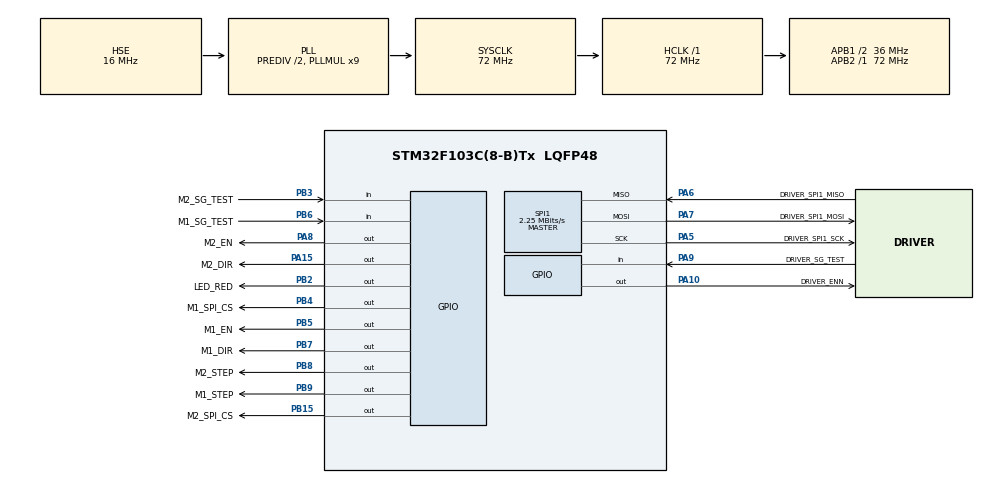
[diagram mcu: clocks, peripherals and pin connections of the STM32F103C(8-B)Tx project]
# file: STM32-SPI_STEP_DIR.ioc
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Mcu.Family=STM32F1
Mcu.Name=STM32F103C(8-B)Tx
Mcu.Package=LQFP48
NVIC.PriorityGroup=NVIC_PRIORITYGROUP_4
PA10.GPIO_Label=DRIVER_ENN
PA10.Signal=GPIO_Output
PA13.Mode=Serial_Wire
PA13.Signal=SYS_JTMS-SWDIO
PA14.Mode=Serial_Wire
PA14.Signal=SYS_JTCK-SWCLK
PA15.GPIO_Label=M2_DIR
PA15.Signal=GPIO_Output
PA5.GPIO_Label=DRIVER_SPI1_SCK
PA5.Mode=Full_Duplex_Master
PA5.Signal=SPI1_SCK
PA6.GPIO_Label=DRIVER_SPI1_MISO
PA6.Mode=Full_Duplex_Master
PA6.Signal=SPI1_MISO
PA7.GPIO_Label=DRIVER_SPI1_MOSI
PA7.Mode=Full_Duplex_Master
PA7.Signal=SPI1_MOSI
PA8.GPIO_Label=M2_EN
PA8.Signal=GPIO_Output
PA9.GPIO_Label=DRIVER_SG_TEST
PA9.Signal=GPIO_Input
PB15.GPIO_Label=M2_SPI_CS
PB15.Signal=GPIO_Output
PB2.GPIO_Label=LED_RED
PB2.Signal=GPIO_Output
PB3.GPIO_Label=M2_SG_TEST
PB3.Signal=GPIO_Input
PB4.GPIO_Label=M1_SPI_CS
PB4.Signal=GPIO_Output
PB5.GPIO_Label=M1_EN
PB5.Signal=GPIO_Output
PB6.GPIO_Label=M1_SG_TEST
PB6.Signal=GPIO_Input
PB7.GPIO_Label=M1_DIR
PB7.Signal=GPIO_Output
PB8.GPIO_Label=M2_STEP
PB8.Signal=GPIO_Output
PB9.GPIO_Label=M1_STEP
PB9.Signal=GPIO_Output
PD0-OSC_IN.Mode=HSE-External-Oscillator
PD0-OSC_IN.Signal=RCC_OSC_IN
PD1-OSC_OUT.Mode=HSE-External-Oscillator
PD1-OSC_OUT.Signal=RCC_OSC_OUT
ProjectManager.HeapSize=0x200
ProjectManager.StackSize=0x400
ProjectManager.TargetToolchain=STM32CubeIDE
RCC.AHBFreq_Value=72000000
RCC.APB1CLKDivider=RCC_HCLK_DIV2
RCC.APB1Freq_Value=36000000
RCC.APB1TimFreq_Value=72000000
RCC.APB2Freq_Value=72000000
RCC.APB2TimFreq_Value=72000000
RCC.HCLKFreq_Value=72000000
RCC.HSEDivPLL=RCC_HSE_PREDIV_DIV2
RCC.HSE_VALUE=16000000
RCC.PLLMUL=RCC_PLL_MUL9
RCC.PLLSourceVirtual=RCC_PLLSOURCE_HSE
RCC.SYSCLKFreq_VALUE=72000000
RCC.SYSCLKSource=RCC_SYSCLKSOURCE_PLLCLK
RCC.USBFreq_Value=72000000
SPI1.BaudRatePrescaler=SPI_BAUDRATEPRESCALER_32
SPI1.CalculateBaudRate=2.25 MBits/s
SPI1.Direction=SPI_DIRECTION_2LINES
SPI1.Mode=SPI_MODE_MASTER
SPI1.VirtualType=VM_MASTER
board=custom

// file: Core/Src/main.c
/* USER CODE BEGIN Header */
/**
 ******************************************************************************
 * @file           : main.c
 * @brief          : Main program body
 ******************************************************************************
 * @attention
 *
 * Copyright (c) 2024 STMicroelectronics.
 * All rights reserved.
 *
 * This software is licensed under terms that can be found in the LICENSE file
 * in the root directory of this software component.
 * If no LICENSE file comes with this software, it is provided AS-IS.
 *
 ******************************************************************************
 */
/* USER CODE END Header */
#include "main.h"

SPI_HandleTypeDef hspi1;

void SystemClock_Config(void);
static void MX_GPIO_Init(void);
static void MX_SPI1_Init(void);

/* USER CODE BEGIN 0 */
uint32_t getUs(void)
{

    uint32_t usTicks = HAL_RCC_GetSysClockFreq() / 1000000;

    register uint32_t ms, cycle_cnt;
    do
    {
        ms = HAL_GetTick();
        cycle_cnt = SysTick->VAL;
    } while (ms != HAL_GetTick());
    return (ms * 1000) + (usTicks * 1000 - cycle_cnt) / usTicks;
}

void delayUs(uint16_t micros)
{
    uint32_t start = getUs();
    while (getUs() - start < (uint32_t) micros)
    {
        asm("nop");
    }
}

/* USER CODE END 0 */

int main(void)
{

  /* MCU Configuration--------------------------------------------------------*/

  /* Reset of all peripherals, Initializes the Flash interface and the Systick. */
  HAL_Init();

  /* Configure the system clock */
  SystemClock_Config();

  /* Initialize all configured peripherals */
  MX_GPIO_Init();
  MX_SPI1_Init();
  /* USER CODE BEGIN 2 */

    HAL_GPIO_WritePin(M1_EN_GPIO_Port, M1_EN_Pin, GPIO_PIN_RESET); // Motor driver chip enable
    HAL_GPIO_WritePin(M2_EN_GPIO_Port, M2_EN_Pin, GPIO_PIN_RESET); // Motor driver chip enable

    HAL_GPIO_WritePin(M1_DIR_GPIO_Port, M1_DIR_Pin, GPIO_PIN_RESET); // set DIR
    // HAL_GPIO_TogglePin(GPIOB, GPIO_PIN_3, GPIO_PIN_RESET); // STEP

    uint32_t SPImsg = 0;
    uint8_t SPImsg_bytes[3];

//  uint32_t SPIread;
    uint8_t SPIread_bytes[3];

    HAL_StatusTypeDef spi_status;

    // Bits 19, 18, 17
    // 111 DRVCONF (0b111 << 17)
    // 110 SGCSCONF (0b110 << 17)
    // 101 SMARTEN (0b101 << 17)
    // 100 CHOPCONF (0b100 << 17)
    // 00X DRVCTRL (0b00 << 18)

    /* DRVCONF */
    SPImsg = 0;
    SPImsg |= (0b111 << 17); // DRVCONF
    SPImsg |= (0b0 << 16); // TST: test mode
    SPImsg |= (0b11110 << 11); // SLP: Slope control
    SPImsg |= (0b0 << 10); // DIS_S2G: Short to ground protection
    SPImsg |= (0b00 << 8); // TS2G: Short detection delay
    SPImsg |= (0b0 << 7); // SDOFF: step/dir interface
    SPImsg |= (0b0 << 6); // VSENSE: full-scale sense resistor voltage setting
    SPImsg |= (0b11 << 4); // RDSEL: read out select
    SPImsg |= (0b0 << 3); // OTSENS: overtemp shutdown setting
    SPImsg |= (0b1 << 2); // SHRTSENS: short to ground sensitivity
    SPImsg |= (0b1 << 1); // EN_PFD: passive fast delay setting
    SPImsg |= (0b1 << 0); // EN_S2VS: Short to VS protection

    SPImsg_bytes[2] = (uint8_t) (SPImsg & 0xFF);
    SPImsg_bytes[1] = (uint8_t) ((SPImsg & 0xFF00) >> 8);
    SPImsg_bytes[0] = (uint8_t) ((SPImsg & 0xFF0000) >> 16);

    HAL_GPIO_WritePin(M1_SPI_CS_GPIO_Port, M1_SPI_CS_Pin, GPIO_PIN_RESET);
    spi_status = HAL_SPI_TransmitReceive(&hspi1, SPImsg_bytes, SPIread_bytes, 3,
            1000);
    HAL_GPIO_WritePin(M1_SPI_CS_GPIO_Port, M1_SPI_CS_Pin, GPIO_PIN_SET);
//    HAL_GPIO_WritePin(M2_SPI_CS_GPIO_Port, M2_SPI_CS_Pin, GPIO_PIN_RESET);
//    spi_status = HAL_SPI_TransmitReceive(&hspi1, SPImsg_bytes, SPIread_bytes, 3,
//            1000);
//    HAL_GPIO_WritePin(M2_SPI_CS_GPIO_Port, M2_SPI_CS_Pin, GPIO_PIN_SET);

    /* SGCSCONF */
    SPImsg = 0;
    SPImsg |= (0b110 << 17); // SGCSCONF
    SPImsg |= (0b0 << 16); // SFILT: stall guard filter
    SPImsg |= (0b0000010 << 8); // SGT: stall guard threshold
    SPImsg |= (17 << 0); // CS: current scale

    SPImsg_bytes[2] = (uint8_t) (SPImsg & 0xFF);
    SPImsg_bytes[1] = (uint8_t) ((SPImsg & 0xFF00) >> 8);
    SPImsg_bytes[0] = (uint8_t) ((SPImsg & 0xFF0000) >> 16);

    HAL_GPIO_WritePin(M1_SPI_CS_GPIO_Port, M1_SPI_CS_Pin, GPIO_PIN_RESET);
    spi_status = HAL_SPI_TransmitReceive(&hspi1, SPImsg_bytes, SPIread_bytes, 3,
            1000);
    HAL_GPIO_WritePin(M1_SPI_CS_GPIO_Port, M1_SPI_CS_Pin, GPIO_PIN_SET);
//    HAL_GPIO_WritePin(M2_SPI_CS_GPIO_Port, M2_SPI_CS_Pin, GPIO_PIN_RESET);
//    spi_status = HAL_SPI_TransmitReceive(&hspi1, SPImsg_bytes, SPIread_bytes, 3,
//            1000);
//    HAL_GPIO_WritePin(M2_SPI_CS_GPIO_Port, M2_SPI_CS_Pin, GPIO_PIN_SET);

    /* SMARTEN */
    SPImsg = 0;
    SPImsg |= (0b101 << 17); // SMARTEN
    SPImsg |= (0b0 << 15); // SEIMIN: min cool step current
    SPImsg |= (0b00 << 13); // SEDN: current dec. speed
    SPImsg |= (0b0000 << 8); // SEMAX: upper cool step threshold offset
    SPImsg |= (0b00 << 5); // SEUP: current increment size
    SPImsg |= (0b0000 << 0); // SEMIN: cool step lower threshold

    SPImsg_bytes[2] = (uint8_t) (SPImsg & 0xFF);
    SPImsg_bytes[1] = (uint8_t) ((SPImsg & 0xFF00) >> 8);
    SPImsg_bytes[0] = (uint8_t) ((SPImsg & 0xFF0000) >> 16);

     HAL_GPIO_WritePin(M1_SPI_CS_GPIO_Port, M1_SPI_CS_Pin, GPIO_PIN_RESET);
    spi_status = HAL_SPI_TransmitReceive(&hspi1, SPImsg_bytes, SPIread_bytes, 3,
            1000);
    HAL_GPIO_WritePin(M1_SPI_CS_GPIO_Port, M1_SPI_CS_Pin, GPIO_PIN_SET);
//    HAL_GPIO_WritePin(M2_SPI_CS_GPIO_Port, M2_SPI_CS_Pin, GPIO_PIN_RESET);
//    spi_status = HAL_SPI_TransmitReceive(&hspi1, SPImsg_bytes, SPIread_bytes, 3,
//            1000);
//    HAL_GPIO_WritePin(M2_SPI_CS_GPIO_Port, M2_SPI_CS_Pin, GPIO_PIN_SET);

    /* CHOPCONF */
    SPImsg = 0;
    SPImsg |= (0b100 << 17); // CHOPCONF
    SPImsg |= (0b10 << 15); // TBL: blanking time
    SPImsg |= (0b0 << 14); // CHM: chopper mode
    SPImsg |= (0b0 << 13); // RNDTF: Random TOFF time
    SPImsg |= (0b00 << 11); // HDEC: hysteresis decay or fast decay mode
    SPImsg |= (0b0100 << 7); // HEND: hysteresis end value
    SPImsg |= (0b110 << 4); // HSTRT: hysteresis start value
    SPImsg |= (0b0100 << 0); // TOFF: mosfet off time

    SPImsg_bytes[2] = (uint8_t) (SPImsg & 0xFF);
    SPImsg_bytes[1] = (uint8_t) ((SPImsg & 0xFF00) >> 8);
    SPImsg_bytes[0] = (uint8_t) ((SPImsg & 0xFF0000) >> 16);

    HAL_GPIO_WritePin(M1_SPI_CS_GPIO_Port, M1_SPI_CS_Pin, GPIO_PIN_RESET);
    spi_status = HAL_SPI_TransmitReceive(&hspi1, SPImsg_bytes, SPIread_bytes, 3,
            1000);
    HAL_GPIO_WritePin(M1_SPI_CS_GPIO_Port, M1_SPI_CS_Pin, GPIO_PIN_SET);
//    HAL_GPIO_WritePin(M2_SPI_CS_GPIO_Port, M2_SPI_CS_Pin, GPIO_PIN_RESET);
//    spi_status = HAL_SPI_TransmitReceive(&hspi1, SPImsg_bytes, SPIread_bytes, 3,
//            1000);
//    HAL_GPIO_WritePin(M2_SPI_CS_GPIO_Port, M2_SPI_CS_Pin, GPIO_PIN_SET);

    /* DRVCTRL */
    SPImsg = 0;
    SPImsg |= (0b00 << 18); // DRVCTRL
    SPImsg |= (0b1 << 9); // INTPOL: step interpolation
    SPImsg |= (0b0 << 8); // DEDGE: Double edge step pulses
    SPImsg |= (0b0000 << 0); // MRES: Microsteps per fullstep

    SPImsg_bytes[2] = (uint8_t) (SPImsg & 0xFF);
    SPImsg_bytes[1] = (uint8_t) ((SPImsg & 0xFF00) >> 8);
    SPImsg_bytes[0] = (uint8_t) ((SPImsg & 0xFF0000) >> 16);

    HAL_GPIO_WritePin(M1_SPI_CS_GPIO_Port, M1_SPI_CS_Pin, GPIO_PIN_RESET);
    spi_status = HAL_SPI_TransmitReceive(&hspi1, SPImsg_bytes, SPIread_bytes, 3,
            1000);
    HAL_GPIO_WritePin(M1_SPI_CS_GPIO_Port, M1_SPI_CS_Pin, GPIO_PIN_SET);
//    HAL_GPIO_WritePin(M2_SPI_CS_GPIO_Port, M2_SPI_CS_Pin, GPIO_PIN_RESET);
//    spi_status = HAL_SPI_TransmitReceive(&hspi1, SPImsg_bytes, SPIread_bytes, 3,
//            1000);
//    HAL_GPIO_WritePin(M2_SPI_CS_GPIO_Port, M2_SPI_CS_Pin, GPIO_PIN_SET);

  /* USER CODE END 2 */

  /* Infinite loop */
  /* USER CODE BEGIN WHILE */

  uint16_t direction_counter;

    while (1)
    {
      HAL_GPIO_WritePin(M1_STEP_GPIO_Port, M1_STEP_Pin, GPIO_PIN_SET);
      HAL_GPIO_WritePin(M1_DIR_GPIO_Port, M1_DIR_Pin, GPIO_PIN_SET);
      HAL_GPIO_WritePin(GPIOB, GPIO_PIN_2, GPIO_PIN_SET);

      //HAL_Delay(10);
      delayUs(5);

      HAL_GPIO_WritePin(M1_STEP_GPIO_Port, M1_STEP_Pin, GPIO_PIN_RESET);
      HAL_GPIO_WritePin(GPIOB, GPIO_PIN_2, GPIO_PIN_RESET);

      //HAL_Delay(10);
      delayUs(5);

      //delayUs(50); //10ms step

        // Use LED to signal state of ST_TST
//        HAL_GPIO_WritePin(GPIOB, GPIO_PIN_2,
//                HAL_GPIO_ReadPin(GPIOA, GPIO_PIN_9));
    /* USER CODE END WHILE */

    }
}

void SystemClock_Config(void)
{
  RCC_OscInitTypeDef RCC_OscInitStruct = {0};
  RCC_ClkInitTypeDef RCC_ClkInitStruct = {0};

  /** Initializes the RCC Oscillators according to the specified parameters
  * in the RCC_OscInitTypeDef structure.
  */
  RCC_OscInitStruct.OscillatorType = RCC_OSCILLATORTYPE_HSE;
  RCC_OscInitStruct.HSEState = RCC_HSE_ON;
  RCC_OscInitStruct.HSEPredivValue = RCC_HSE_PREDIV_DIV2;
  RCC_OscInitStruct.HSIState = RCC_HSI_ON;
  RCC_OscInitStruct.PLL.PLLState = RCC_PLL_ON;
  RCC_OscInitStruct.PLL.PLLSource = RCC_PLLSOURCE_HSE;
  RCC_OscInitStruct.PLL.PLLMUL = RCC_PLL_MUL9;
  if (HAL_RCC_OscConfig(&RCC_OscInitStruct) != HAL_OK)
  {
    Error_Handler();
  }

  /** Initializes the CPU, AHB and APB buses clocks
  */
  RCC_ClkInitStruct.ClockType = RCC_CLOCKTYPE_HCLK|RCC_CLOCKTYPE_SYSCLK
                              |RCC_CLOCKTYPE_PCLK1|RCC_CLOCKTYPE_PCLK2;
  RCC_ClkInitStruct.SYSCLKSource = RCC_SYSCLKSOURCE_PLLCLK;
  RCC_ClkInitStruct.AHBCLKDivider = RCC_SYSCLK_DIV1;
  RCC_ClkInitStruct.APB1CLKDivider = RCC_HCLK_DIV2;
  RCC_ClkInitStruct.APB2CLKDivider = RCC_HCLK_DIV1;

  if (HAL_RCC_ClockConfig(&RCC_ClkInitStruct, FLASH_LATENCY_2) != HAL_OK)
  {
    Error_Handler();
  }
}

static void MX_SPI1_Init(void)
{

  /* SPI1 parameter configuration*/
  hspi1.Instance = SPI1;
  hspi1.Init.Mode = SPI_MODE_MASTER;
  hspi1.Init.Direction = SPI_DIRECTION_2LINES;
  hspi1.Init.DataSize = SPI_DATASIZE_8BIT;
  hspi1.Init.CLKPolarity = SPI_POLARITY_LOW;
  hspi1.Init.CLKPhase = SPI_PHASE_1EDGE;
  hspi1.Init.NSS = SPI_NSS_SOFT;
  hspi1.Init.BaudRatePrescaler = SPI_BAUDRATEPRESCALER_32;
  hspi1.Init.FirstBit = SPI_FIRSTBIT_MSB;
  hspi1.Init.TIMode = SPI_TIMODE_DISABLE;
  hspi1.Init.CRCCalculation = SPI_CRCCALCULATION_DISABLE;
  hspi1.Init.CRCPolynomial = 10;
  if (HAL_SPI_Init(&hspi1) != HAL_OK)
  {
    Error_Handler();
  }

}

static void MX_GPIO_Init(void)
{
  GPIO_InitTypeDef GPIO_InitStruct = {0};
/* USER CODE BEGIN MX_GPIO_Init_1 */

  //__HAL_RCC_AFIO_CLK_ENABLE();
  __HAL_AFIO_REMAP_SWJ_NOJTAG();
/* USER CODE END MX_GPIO_Init_1 */

  /* GPIO Ports Clock Enable */
  __HAL_RCC_GPIOD_CLK_ENABLE();
  __HAL_RCC_GPIOA_CLK_ENABLE();
  __HAL_RCC_GPIOB_CLK_ENABLE();

  /*Configure GPIO pin Output Level */
  HAL_GPIO_WritePin(GPIOB, LED_RED_Pin|M2_SPI_CS_Pin|M1_SPI_CS_Pin|M1_EN_Pin
                          |M1_DIR_Pin|M2_STEP_Pin|M1_STEP_Pin, GPIO_PIN_RESET);

  /*Configure GPIO pin Output Level */
  HAL_GPIO_WritePin(GPIOA, M2_EN_Pin|DRIVER_ENN_Pin|M2_DIR_Pin, GPIO_PIN_RESET);

  /*Configure GPIO pins : LED_RED_Pin M2_SPI_CS_Pin M1_SPI_CS_Pin M1_EN_Pin
                           M1_DIR_Pin M2_STEP_Pin M1_STEP_Pin */
  GPIO_InitStruct.Pin = LED_RED_Pin|M2_SPI_CS_Pin|M1_SPI_CS_Pin|M1_EN_Pin
                          |M1_DIR_Pin|M2_STEP_Pin|M1_STEP_Pin;
  GPIO_InitStruct.Mode = GPIO_MODE_OUTPUT_PP;
  GPIO_InitStruct.Pull = GPIO_NOPULL;
  GPIO_InitStruct.Speed = GPIO_SPEED_FREQ_LOW;
  HAL_GPIO_Init(GPIOB, &GPIO_InitStruct);

  /*Configure GPIO pins : M2_EN_Pin DRIVER_ENN_Pin M2_DIR_Pin */
  GPIO_InitStruct.Pin = M2_EN_Pin|DRIVER_ENN_Pin|M2_DIR_Pin;
  GPIO_InitStruct.Mode = GPIO_MODE_OUTPUT_PP;
  GPIO_InitStruct.Pull = GPIO_NOPULL;
  GPIO_InitStruct.Speed = GPIO_SPEED_FREQ_LOW;
  HAL_GPIO_Init(GPIOA, &GPIO_InitStruct);

  /*Configure GPIO pin : DRIVER_SG_TEST_Pin */
  GPIO_InitStruct.Pin = DRIVER_SG_TEST_Pin;
  GPIO_InitStruct.Mode = GPIO_MODE_INPUT;
  GPIO_InitStruct.Pull = GPIO_NOPULL;
  HAL_GPIO_Init(DRIVER_SG_TEST_GPIO_Port, &GPIO_InitStruct);

  /*Configure GPIO pins : M2_SG_TEST_Pin M1_SG_TEST_Pin */
  GPIO_InitStruct.Pin = M2_SG_TEST_Pin|M1_SG_TEST_Pin;
  GPIO_InitStruct.Mode = GPIO_MODE_INPUT;
  GPIO_InitStruct.Pull = GPIO_NOPULL;
  HAL_GPIO_Init(GPIOB, &GPIO_InitStruct);

}

void Error_Handler(void)
{
    __disable_irq();
    while (1)
    {
    }
}
